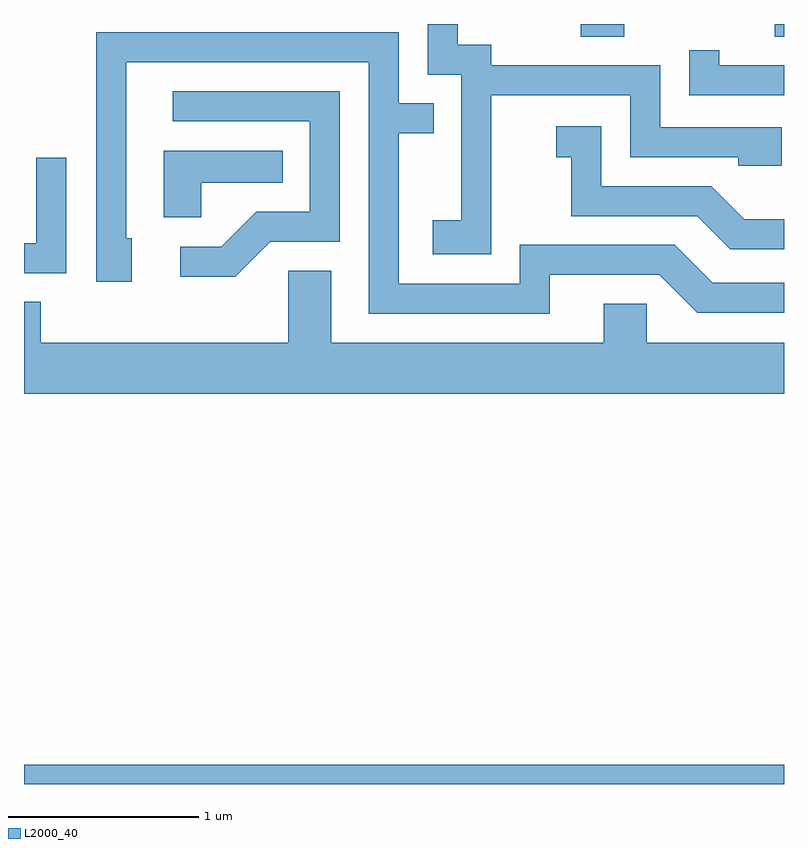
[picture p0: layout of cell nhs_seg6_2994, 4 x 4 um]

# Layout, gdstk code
import gdstk
lib = gdstk.Library(unit=1e-6, precision=1e-09)
def R(c, l, rs):  # rectangles x0, y0, x1, y1
    for r in rs: c.add(gdstk.rectangle(r[:2], r[2:], *l))
def P(c, l, *ps):  # polygons
    for p in ps: c.add(gdstk.Polygon(p, *l))
L2000_40 = (2000, 40)

nhs_seg6_2994 = lib.new_cell('nhs_seg6_2994')
R(nhs_seg6_2994, L2000_40, [(275.611,1590.162,279.611,1590.264), (278.541,1594.096,278.769,1594.162), (279.561,1594.096,279.611,1594.162)])
P(nhs_seg6_2994, L2000_40, [(278.069,1593.786),(278.801,1593.786),(278.801,1593.461),(279.371,1593.461),(279.371,1593.416),(279.599,1593.416),(279.599,1593.619),(278.959,1593.619),(278.959,1593.944),(278.069,1593.944),(278.069,1594.054),(277.894,1594.054),(277.894,1594.162),(277.736,1594.162),(277.736,1593.896),(277.911,1593.896),(277.911,1593.129),(277.761,1593.129),(277.761,1592.951),(278.069,1592.951)],
  [(278.379,1592.841),(278.954,1592.841),(279.154,1592.641),(279.611,1592.641),(279.611,1592.799),(279.237,1592.799),(279.037,1592.999),(278.221,1592.999),(278.221,1592.794),(277.584,1592.794),(277.584,1593.586),(277.768,1593.586),(277.768,1593.744),(277.584,1593.744),(277.584,1594.119),(275.991,1594.119),(275.991,1592.806),(276.179,1592.806),(276.179,1593.034),(276.149,1593.034),(276.149,1593.961),(277.426,1593.961),(277.426,1592.636),(278.379,1592.636)],
  [(279.611,1593.944),(279.269,1593.944),(279.269,1594.023),(279.111,1594.023),(279.111,1593.786),(279.611,1593.786)],
  [(276.907,1593.016),(277.274,1593.016),(277.274,1593.809),(276.393,1593.809),(276.393,1593.651),(277.116,1593.651),(277.116,1593.174),(276.834,1593.174),(276.649,1592.989),(276.433,1592.989),(276.433,1592.831),(276.722,1592.831)],
  [(279.611,1593.134),(279.402,1593.134),(279.227,1593.309),(278.649,1593.309),(278.649,1593.624),(278.413,1593.624),(278.413,1593.461),(278.491,1593.461),(278.491,1593.151),(279.154,1593.151),(279.329,1592.976),(279.611,1592.976)],
  [(276.544,1593.326),(276.973,1593.326),(276.973,1593.494),(276.346,1593.494),(276.346,1593.146),(276.544,1593.146)],
  [(275.834,1593.458),(275.676,1593.458),(275.676,1593.009),(275.611,1593.009),(275.611,1592.851),(275.834,1592.851)],
  [(279.611,1592.484),(278.889,1592.484),(278.889,1592.689),(278.661,1592.689),(278.661,1592.484),(277.229,1592.484),(277.229,1592.864),(277.001,1592.864),(277.001,1592.484),(275.699,1592.484),(275.699,1592.699),(275.611,1592.699),(275.611,1592.216),(279.611,1592.216)])

lib.write_gds('nhs_seg6_2994.gds')
